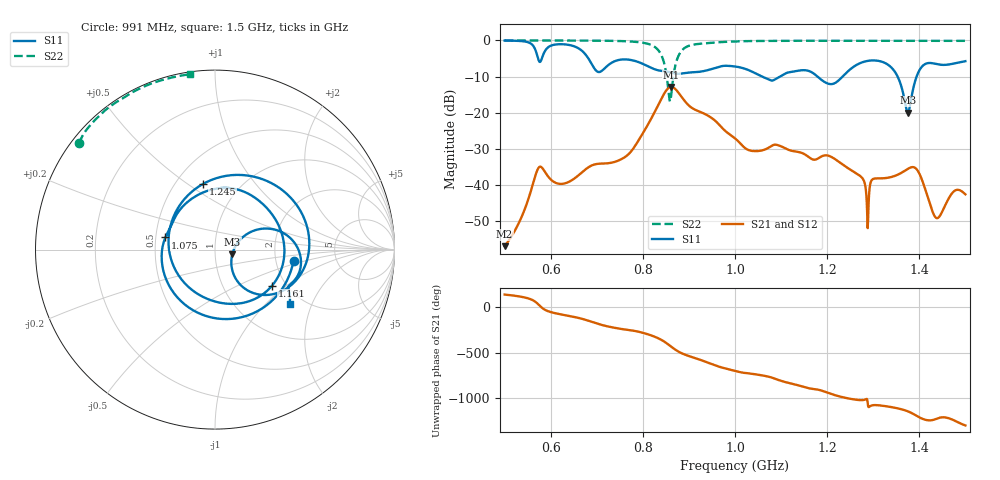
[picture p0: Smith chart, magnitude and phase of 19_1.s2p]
! TOUCHSTONE file generated by CST MICROWAVE STUDIO
! Date and time: Sat Nov 14 20:37:09 2020
! Project name: Scenario_1_Planar_Body_Tissue_Out_of_Line_v2.cst
! Parameters = {dy1=34.6; L_HA=400; Ltissue=700; MT=2.54; Rad_Dielectric=30; Rad_Lower=7.3; Rad_Upper=30; Wtissue=700; a_HA=580; a_WG=246; b_HA=500; b_WG=121; c_HA=0; c_WG=187; d_feed=85; dx1=173; h_feed=15; h_lower=18; h_upper=40; hfat=3; hgap=25; hmuscle=50; hskin=1.5}
! Header version: 2018
! Port assignment regex: !\s*Touchstone port\s*([0-9]+)\s*=\s*(CST MWS port|CST DS port)\s*([0-9]+|Zmin|Zmax)\s*\(\"(.*)\"\)(\s*mode\s*([0-9]+))?.*
! Touchstone port assignment:
! Touchstone port 1 = CST MWS port 1 ("")
! Touchstone port 2 = CST MWS port 2 ("")
# GHz S DB R 50
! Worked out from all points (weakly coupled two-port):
!   1003 points, 500 MHz to 1.5 GHz, reference 50 ohm
!   highest |S21| = -12.89 dB at 862 MHz (marker M1); lowest = -57.0 dB at 500 MHz (marker M2)
!   lowest |S11| = -20.0 dB at 1.375 GHz (marker M3), VSWR 1.22, Z = 60.5 - j3.29 ohm
!   |S11| at or under -10 dB: 1.059 GHz to 1.098 GHz (39.36 MHz wide, 3.65 % of centre); 1.179 GHz to 1.234 GHz (54.73 MHz wide, 4.54 % of centre); 1.353 GHz to 1.394 GHz (41.27 MHz wide, 3 % of centre)
!   |S22| runs from -16.9 to 0.0 dB; largest |S21 - S12| = 1.8e-05
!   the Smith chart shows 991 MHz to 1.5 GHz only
!   S11 on the Smith chart (normalised r, x): 991 MHz: 2.51, -0.38; 1.075 GHz: 0.56, +0.08; 1.161 GHz: 1.70, -0.79; 1.245 GHz: 0.68, +0.58; 1.5 GHz: 1.69, -1.41
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0.5  -0.04 -121.7  -57.02 131.6  -57.02 131.6  -0.01 151.2
0.575  -5.81 -162.6  -35.10 15.8  -35.10 15.8  -0.02 146.0
0.627  -1.06 173.0  -39.71 -88.7  -39.71 -88.7  -0.03 142.0
0.667  -2.78 108.3  -36.65 -131.2  -36.65 -131.2  -0.04 138.4
0.692  -7.19 24.2  -34.50 -170.5  -34.50 -170.5  -0.06 135.8
0.716  -7.87 -93.4  -34.10 153.8  -34.10 153.8  -0.09 132.9
0.755  -5.28 167.5  -32.80 115.6  -32.80 115.6  -0.18 126.6
0.792  -6.07 98.5  -27.42 85.4  -27.42 85.4  -0.50 116.6
0.834  -8.30 11.5  -17.73 14.2  -17.73 14.2  -2.78 85.0
0.862  -8.91 -63.9  -12.89 -77.6  -12.89 -77.6  -14.53 -93.2
0.908  -8.84 171.6  -18.83 168.9  -18.83 168.9  -1.21 162.2
0.949  -7.94 78.8  -21.46 95.7  -21.46 95.7  -0.66 149.0
0.991  -7.10 -7.9  -26.27 32.1  -26.27 32.1  -0.33 141.9
1  -7.22 -25.5  -27.14 20.2  -27.14 20.2  -0.28 140.6
1.075  -10.92 166.2  -29.56 -45.4  -29.56 -45.4  -0.14 132.0
1.161  -8.50 -32.3  -32.41 -169.5  -32.41 -169.5  -0.10 124.6
1.167  -8.86 -45.9  -32.89 -174.6  -32.89 -174.6  -0.10 124.2
1.245  -8.58 100.0  -35.38 81.5  -35.38 81.5  -0.09 118.5
1.334  -6.91 -29.1  -38.00 -9.3  -38.00 -9.3  -0.08 111.6
1.375  -20.02 -15.7  -35.60 -59.7  -35.60 -59.7  -0.09 108.4
1.437  -6.54 -22.3  -49.21 -141.5  -49.21 -141.5  -0.10 103.5
1.5  -5.75 -36.3  -42.65 146.3  -42.65 146.3  -0.12 98.0
